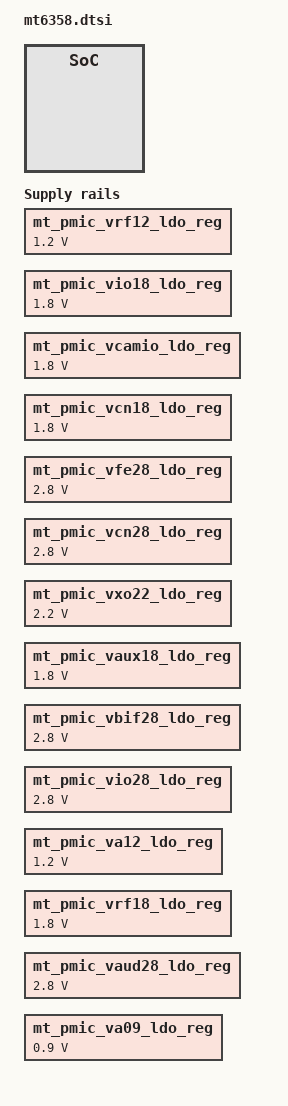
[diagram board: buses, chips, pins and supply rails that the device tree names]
/*
 * Copyright (C) 2017 MediaTek Inc.
 *
 * This program is free software; you can redistribute it and/or modify
 * it under the terms of the GNU General Public License version 2 as
 * published by the Free Software Foundation.
 *
 * This program is distributed in the hope that it will be useful,
 * but WITHOUT ANY WARRANTY; without even the implied warranty of
 * MERCHANTABILITY or FITNESS FOR A PARTICULAR PURPOSE.
 * See http://www.gnu.org/licenses/gpl-2.0.html for more details.
 */

/ {
mt_pmic_regulator {
	compatible = "mediatek,mt_pmic";
	buck_regulators {
		compatible = "mediatek,mt_pmic_buck_regulators";
		mt_pmic_vdram1_buck_reg: buck_vdram1 {
			regulator-name = "vdram1";
			regulator-min-microvolt = <500000>;
			regulator-max-microvolt = <2087500>;
			regulator-ramp-delay = <12500>;
			regulator-enable-ramp-delay = <0>;
		};
		mt_pmic_vcore_buck_reg: buck_vcore {
			regulator-name = "vcore";
			regulator-min-microvolt = <500000>;
			regulator-max-microvolt = <1293750>;
			regulator-ramp-delay = <6250>;
			regulator-enable-ramp-delay = <200>;
		};
		mt_pmic_vpa_buck_reg: buck_vpa {
			regulator-name = "vpa";
			regulator-min-microvolt = <500000>;
			regulator-max-microvolt = <3650000>;
			regulator-ramp-delay = <50000>;
			regulator-enable-ramp-delay = <250>;
		};
		mt_pmic_vproc11_buck_reg: buck_vproc11 {
			regulator-name = "vproc11";
			regulator-min-microvolt = <500000>;
			regulator-max-microvolt = <1293750>;
			regulator-ramp-delay = <6250>;
			regulator-enable-ramp-delay = <200>;
		};
		mt_pmic_vproc12_buck_reg: buck_vproc12 {
			regulator-name = "vproc12";
			regulator-min-microvolt = <500000>;
			regulator-max-microvolt = <1293750>;
			regulator-ramp-delay = <6250>;
			regulator-enable-ramp-delay = <200>;
		};
		mt_pmic_vgpu_buck_reg: buck_vgpu {
			regulator-name = "vgpu";
			regulator-min-microvolt = <500000>;
			regulator-max-microvolt = <1293750>;
			regulator-ramp-delay = <6250>;
			regulator-enable-ramp-delay = <200>;
		};
		mt_pmic_vs2_buck_reg: buck_vs2 {
			regulator-name = "vs2";
			regulator-min-microvolt = <500000>;
			regulator-max-microvolt = <2087500>;
			regulator-ramp-delay = <12500>;
			regulator-enable-ramp-delay = <0>;
		};
		mt_pmic_vmodem_buck_reg: buck_vmodem {
			regulator-name = "vmodem";
			regulator-min-microvolt = <500000>;
			regulator-max-microvolt = <1293750>;
			regulator-ramp-delay = <6250>;
			regulator-enable-ramp-delay = <900>;
		};
		mt_pmic_vs1_buck_reg: buck_vs1 {
			regulator-name = "vs1";
			regulator-min-microvolt = <1000000>;
			regulator-max-microvolt = <2587500>;
			regulator-ramp-delay = <12500>;
			regulator-enable-ramp-delay = <0>;
		};
	};	/* End of buck_regulators */
	ldo_regulators {
		compatible = "mediatek,mt_pmic_ldo_regulators";
		mt_pmic_vdram2_ldo_reg: ldo_vdram2 {
			regulator-name = "vdram2";
			regulator-min-microvolt = <600000>;
			regulator-max-microvolt = <1800000>;
			regulator-enable-ramp-delay = <3300>;
		};
		mt_pmic_vsim1_ldo_reg: ldo_vsim1 {
			regulator-name = "vsim1";
			regulator-min-microvolt = <1700000>;
			regulator-max-microvolt = <3100000>;
			regulator-enable-ramp-delay = <540>;
		};
		mt_pmic_vibr_ldo_reg: ldo_vibr {
			regulator-name = "vibr";
			regulator-min-microvolt = <1200000>;
			regulator-max-microvolt = <3300000>;
			regulator-enable-ramp-delay = <60>;
		};
		mt_pmic_vrf12_ldo_reg: ldo_vrf12 {
			compatible = "regulator-fixed";
			regulator-name = "vrf12";
			regulator-min-microvolt = <1200000>;
			regulator-max-microvolt = <1200000>;
			regulator-enable-ramp-delay = <120>;
		};
		mt_pmic_vio18_ldo_reg: ldo_vio18 {
			compatible = "regulator-fixed";
			regulator-name = "vio18";
			regulator-min-microvolt = <1800000>;
			regulator-max-microvolt = <1800000>;
			regulator-enable-ramp-delay = <2700>;
		};
		mt_pmic_vusb_ldo_reg: ldo_vusb {
			regulator-name = "vusb";
			regulator-min-microvolt = <3000000>;
			regulator-max-microvolt = <3100000>;
			regulator-enable-ramp-delay = <270>;
		};
		mt_pmic_vcamio_ldo_reg: ldo_vcamio {
			compatible = "regulator-fixed";
			regulator-name = "vcamio";
			regulator-min-microvolt = <1800000>;
			regulator-max-microvolt = <1800000>;
			regulator-enable-ramp-delay = <270>;
		};
		mt_pmic_vcamd_ldo_reg: ldo_vcamd {
			regulator-name = "vcamd";
			regulator-min-microvolt = <900000>;
			regulator-max-microvolt = <1800000>;
			regulator-enable-ramp-delay = <270>;
		};
		mt_pmic_vcn18_ldo_reg: ldo_vcn18 {
			compatible = "regulator-fixed";
			regulator-name = "vcn18";
			regulator-min-microvolt = <1800000>;
			regulator-max-microvolt = <1800000>;
			regulator-enable-ramp-delay = <270>;
		};
		mt_pmic_vfe28_ldo_reg: ldo_vfe28 {
			compatible = "regulator-fixed";
			regulator-name = "vfe28";
			regulator-min-microvolt = <2800000>;
			regulator-max-microvolt = <2800000>;
			regulator-enable-ramp-delay = <270>;
		};
		mt_pmic_vsram_proc11_ldo_reg: ldo_vsram_proc11 {
			regulator-name = "vsram_proc11";
			regulator-min-microvolt = <500000>;
			regulator-max-microvolt = <1293750>;
			regulator-ramp-delay = <6250>;
			regulator-enable-ramp-delay = <240>;
		};
		mt_pmic_vcn28_ldo_reg: ldo_vcn28 {
			compatible = "regulator-fixed";
			regulator-name = "vcn28";
			regulator-min-microvolt = <2800000>;
			regulator-max-microvolt = <2800000>;
			regulator-enable-ramp-delay = <270>;
		};
		mt_pmic_vsram_others_ldo_reg: ldo_vsram_others {
			regulator-name = "vsram_others";
			regulator-min-microvolt = <500000>;
			regulator-max-microvolt = <1293750>;
			regulator-ramp-delay = <6250>;
			regulator-enable-ramp-delay = <240>;
		};
		mt_pmic_vsram_gpu_ldo_reg: ldo_vsram_gpu {
			regulator-name = "vsram_gpu";
			regulator-min-microvolt = <500000>;
			regulator-max-microvolt = <1293750>;
			regulator-ramp-delay = <6250>;
			regulator-enable-ramp-delay = <240>;
		};
		mt_pmic_vxo22_ldo_reg: ldo_vxo22 {
			compatible = "regulator-fixed";
			regulator-name = "vxo22";
			regulator-min-microvolt = <2200000>;
			regulator-max-microvolt = <2200000>;
			regulator-enable-ramp-delay = <120>;
		};
		mt_pmic_vefuse_ldo_reg: ldo_vefuse {
			regulator-name = "vefuse";
			regulator-min-microvolt = <1700000>;
			regulator-max-microvolt = <1900000>;
			regulator-enable-ramp-delay = <270>;
		};
		mt_pmic_vaux18_ldo_reg: ldo_vaux18 {
			compatible = "regulator-fixed";
			regulator-name = "vaux18";
			regulator-min-microvolt = <1800000>;
			regulator-max-microvolt = <1800000>;
			regulator-enable-ramp-delay = <270>;
		};
		mt_pmic_vmch_ldo_reg: ldo_vmch {
			regulator-name = "vmch";
			regulator-min-microvolt = <2900000>;
			regulator-max-microvolt = <3300000>;
			regulator-enable-ramp-delay = <60>;
		};
		mt_pmic_vbif28_ldo_reg: ldo_vbif28 {
			compatible = "regulator-fixed";
			regulator-name = "vbif28";
			regulator-min-microvolt = <2800000>;
			regulator-max-microvolt = <2800000>;
			regulator-enable-ramp-delay = <270>;
		};
		mt_pmic_vsram_proc12_ldo_reg: ldo_vsram_proc12 {
			regulator-name = "vsram_proc12";
			regulator-min-microvolt = <500000>;
			regulator-max-microvolt = <1293750>;
			regulator-ramp-delay = <6250>;
			regulator-enable-ramp-delay = <240>;
		};
		mt_pmic_vcama1_ldo_reg: ldo_vcama1 {
			regulator-name = "vcama1";
			regulator-min-microvolt = <1800000>;
			regulator-max-microvolt = <3000000>;
			regulator-enable-ramp-delay = <270>;
		};
		mt_pmic_vemc_ldo_reg: ldo_vemc {
			regulator-name = "vemc";
			regulator-min-microvolt = <2900000>;
			regulator-max-microvolt = <3300000>;
			regulator-enable-ramp-delay = <60>;
		};
		mt_pmic_vio28_ldo_reg: ldo_vio28 {
			compatible = "regulator-fixed";
			regulator-name = "vio28";
			regulator-min-microvolt = <2800000>;
			regulator-max-microvolt = <2800000>;
			regulator-enable-ramp-delay = <270>;
		};
		mt_pmic_va12_ldo_reg: ldo_va12 {
			compatible = "regulator-fixed";
			regulator-name = "va12";
			regulator-min-microvolt = <1200000>;
			regulator-max-microvolt = <1200000>;
			regulator-enable-ramp-delay = <270>;
		};
		mt_pmic_vrf18_ldo_reg: ldo_vrf18 {
			compatible = "regulator-fixed";
			regulator-name = "vrf18";
			regulator-min-microvolt = <1800000>;
			regulator-max-microvolt = <1800000>;
			regulator-enable-ramp-delay = <120>;
		};
		mt_pmic_vcn33_bt_ldo_reg: ldo_vcn33_bt {
			regulator-name = "vcn33_bt";
			regulator-min-microvolt = <3300000>;
			regulator-max-microvolt = <3500000>;
			regulator-enable-ramp-delay = <270>;
		};
		mt_pmic_vcn33_wifi_ldo_reg: ldo_vcn33_wifi {
			regulator-name = "vcn33_wifi";
			regulator-min-microvolt = <3300000>;
			regulator-max-microvolt = <3500000>;
			regulator-enable-ramp-delay = <270>;
		};
		mt_pmic_vcama2_ldo_reg: ldo_vcama2 {
			regulator-name = "vcama2";
			regulator-min-microvolt = <1800000>;
			regulator-max-microvolt = <3000000>;
			regulator-enable-ramp-delay = <270>;
		};
		mt_pmic_vmc_ldo_reg: ldo_vmc {
			regulator-name = "vmc";
			regulator-min-microvolt = <1800000>;
			regulator-max-microvolt = <3300000>;
			regulator-enable-ramp-delay = <60>;
		};
		mt_pmic_vldo28_ldo_reg: ldo_vldo28 {
			regulator-name = "vldo28";
			regulator-min-microvolt = <2800000>;
			regulator-max-microvolt = <3000000>;
			regulator-enable-ramp-delay = <270>;
		};
		mt_pmic_vaud28_ldo_reg: ldo_vaud28 {
			compatible = "regulator-fixed";
			regulator-name = "vaud28";
			regulator-min-microvolt = <2800000>;
			regulator-max-microvolt = <2800000>;
			regulator-enable-ramp-delay = <270>;
		};
		mt_pmic_vsim2_ldo_reg: ldo_vsim2 {
			regulator-name = "vsim2";
			regulator-min-microvolt = <1700000>;
			regulator-max-microvolt = <3100000>;
			regulator-enable-ramp-delay = <540>;
		};
		mt_pmic_va09_ldo_reg: ldo_va09 {
			compatible = "regulator-fixed";
			regulator-name = "va09";
			regulator-min-microvolt = <900000>;
			regulator-max-microvolt = <900000>;
			regulator-enable-ramp-delay = <264>;
			regulator-boot-on;
		};
	};	/* End of ldo_regulators */
};/* End of mt_pmic_regulator */
};
